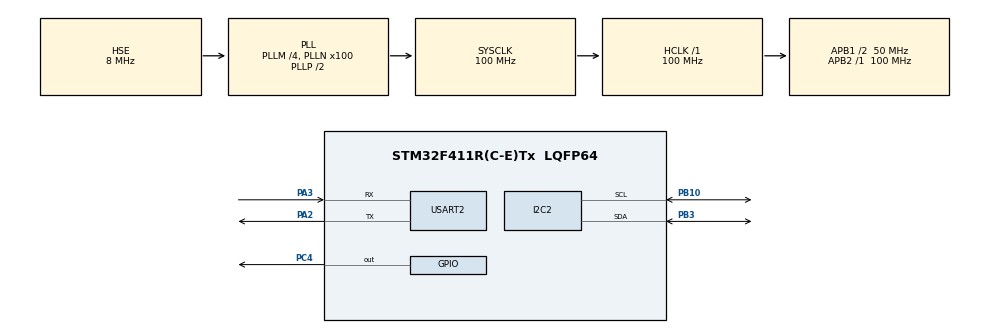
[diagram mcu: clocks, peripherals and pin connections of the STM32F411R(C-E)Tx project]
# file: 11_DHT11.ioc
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Mcu.Family=STM32F4
Mcu.Name=STM32F411R(C-E)Tx
Mcu.Package=LQFP64
NVIC.PriorityGroup=NVIC_PRIORITYGROUP_4
NVIC.USART2_IRQn=true\:0\:0\:false\:false\:true\:true\:true\:true
PA13.Mode=Serial_Wire
PA13.Signal=SYS_JTMS-SWDIO
PA14.Mode=Serial_Wire
PA14.Signal=SYS_JTCK-SWCLK
PA2.Mode=Asynchronous
PA2.Signal=USART2_TX
PA3.Mode=Asynchronous
PA3.Signal=USART2_RX
PB10.Mode=I2C
PB10.Signal=I2C2_SCL
PB3.Mode=I2C
PB3.Signal=I2C2_SDA
PC4.Signal=GPIO_Output
PH0\ -\ OSC_IN.Mode=HSE-External-Oscillator
PH0\ -\ OSC_IN.Signal=RCC_OSC_IN
PH1\ -\ OSC_OUT.Mode=HSE-External-Oscillator
PH1\ -\ OSC_OUT.Signal=RCC_OSC_OUT
ProjectManager.HeapSize=0x200
ProjectManager.StackSize=0x400
ProjectManager.TargetToolchain=STM32CubeIDE
RCC.48MHZClocksFreq_Value=50000000
RCC.AHBFreq_Value=100000000
RCC.APB1CLKDivider=RCC_HCLK_DIV2
RCC.APB1Freq_Value=50000000
RCC.APB1TimFreq_Value=100000000
RCC.APB2Freq_Value=100000000
RCC.APB2TimFreq_Value=100000000
RCC.CortexFreq_Value=100000000
RCC.HCLKFreq_Value=100000000
RCC.HSE_VALUE=8000000
RCC.HSI_VALUE=16000000
RCC.LSE_VALUE=32768
RCC.PLLM=4
RCC.PLLN=100
RCC.PLLSourceVirtual=RCC_PLLSOURCE_HSE
RCC.SYSCLKFreq_VALUE=100000000
RCC.SYSCLKSource=RCC_SYSCLKSOURCE_PLLCLK
RCC.VCOOutputFreq_Value=200000000
TIM11.Prescaler=100-1
USART2.VirtualMode=VM_ASYNC
VP_TIM11_VS_ClockSourceINT.Mode=Enable_Timer
board=custom

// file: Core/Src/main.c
/* USER CODE BEGIN Header */
/**
  ******************************************************************************
  * @file           : main.c
  * @brief          : Main program body
  ******************************************************************************
  * @attention
  *
  * Copyright (c) 2025 STMicroelectronics.
  * All rights reserved.
  *
  * This software is licensed under terms that can be found in the LICENSE file
  * in the root directory of this software component.
  * If no LICENSE file comes with this software, it is provided AS-IS.
  *
  ******************************************************************************
  */
/* USER CODE END Header */
#include "main.h"
#include "i2c.h"
#include "tim.h"
#include "usart.h"
#include "gpio.h"

/* USER CODE BEGIN Includes */
#include "dht11.h"
#include "i2c_led.h"
/* USER CODE END Includes */

/* USER CODE BEGIN PD */
int _write(int file, unsigned char* p, int len)
{
    HAL_StatusTypeDef status = HAL_UART_Transmit(&huart2, p, len, 100);
    return (status == HAL_OK ? len : 0);
}
/* USER CODE END PD */

/* USER CODE BEGIN PV */
DHT11 dht;
/* USER CODE END PV */

void SystemClock_Config(void);

int main(void)
{

  /* MCU Configuration--------------------------------------------------------*/

  /* Reset of all peripherals, Initializes the Flash interface and the Systick. */
  HAL_Init();

  /* Configure the system clock */
  SystemClock_Config();

  /* Initialize all configured peripherals */
  MX_GPIO_Init();
  MX_USART2_UART_Init();
  MX_TIM11_Init();
  MX_I2C2_Init();
  /* USER CODE BEGIN 2 */
  dht11Init(&dht, GPIOC, GPIO_PIN_4);

  i2c_lcd_init();

  /* USER CODE END 2 */

  /* Infinite loop */
  /* USER CODE BEGIN WHILE */
  while (1)
  {
    if (dht11Read(&dht))
    {
        printf("Temperature : %d C, Humidity : %d %% \r\n", dht.temperature, dht.humidity);

        char line1[20];
        char line2[20];

        snprintf(line1, sizeof(line1), "TEM : %d C", dht.temperature);
        snprintf(line2, sizeof(line2), "HUM : %d %%", dht.humidity);

        move_cursor(0, 0);
        lcd_string(line1);
        move_cursor(1, 0);
        lcd_string(line2);
    }
    else
    {
        printf("Failed read data from DHT11\n");

        move_cursor(0, 0);
        lcd_string("Sensor Error");
        move_cursor(1, 0);
        lcd_string("Check DHT11");
    }

    HAL_Delay(2000);
    /* USER CODE END WHILE */

  }
}

void SystemClock_Config(void)
{
  RCC_OscInitTypeDef RCC_OscInitStruct = {0};
  RCC_ClkInitTypeDef RCC_ClkInitStruct = {0};

  /** Configure the main internal regulator output voltage
  */
  __HAL_RCC_PWR_CLK_ENABLE();
  __HAL_PWR_VOLTAGESCALING_CONFIG(PWR_REGULATOR_VOLTAGE_SCALE1);

  /** Initializes the RCC Oscillators according to the specified parameters
  * in the RCC_OscInitTypeDef structure.
  */
  RCC_OscInitStruct.OscillatorType = RCC_OSCILLATORTYPE_HSE;
  RCC_OscInitStruct.HSEState = RCC_HSE_ON;
  RCC_OscInitStruct.PLL.PLLState = RCC_PLL_ON;
  RCC_OscInitStruct.PLL.PLLSource = RCC_PLLSOURCE_HSE;
  RCC_OscInitStruct.PLL.PLLM = 4;
  RCC_OscInitStruct.PLL.PLLN = 100;
  RCC_OscInitStruct.PLL.PLLP = RCC_PLLP_DIV2;
  RCC_OscInitStruct.PLL.PLLQ = 4;
  if (HAL_RCC_OscConfig(&RCC_OscInitStruct) != HAL_OK)
  {
    Error_Handler();
  }

  /** Initializes the CPU, AHB and APB buses clocks
  */
  RCC_ClkInitStruct.ClockType = RCC_CLOCKTYPE_HCLK|RCC_CLOCKTYPE_SYSCLK
                              |RCC_CLOCKTYPE_PCLK1|RCC_CLOCKTYPE_PCLK2;
  RCC_ClkInitStruct.SYSCLKSource = RCC_SYSCLKSOURCE_PLLCLK;
  RCC_ClkInitStruct.AHBCLKDivider = RCC_SYSCLK_DIV1;
  RCC_ClkInitStruct.APB1CLKDivider = RCC_HCLK_DIV2;
  RCC_ClkInitStruct.APB2CLKDivider = RCC_HCLK_DIV1;

  if (HAL_RCC_ClockConfig(&RCC_ClkInitStruct, FLASH_LATENCY_3) != HAL_OK)
  {
    Error_Handler();
  }
}

void Error_Handler(void)
{
  __disable_irq();
  while (1)
  {
  }
}
